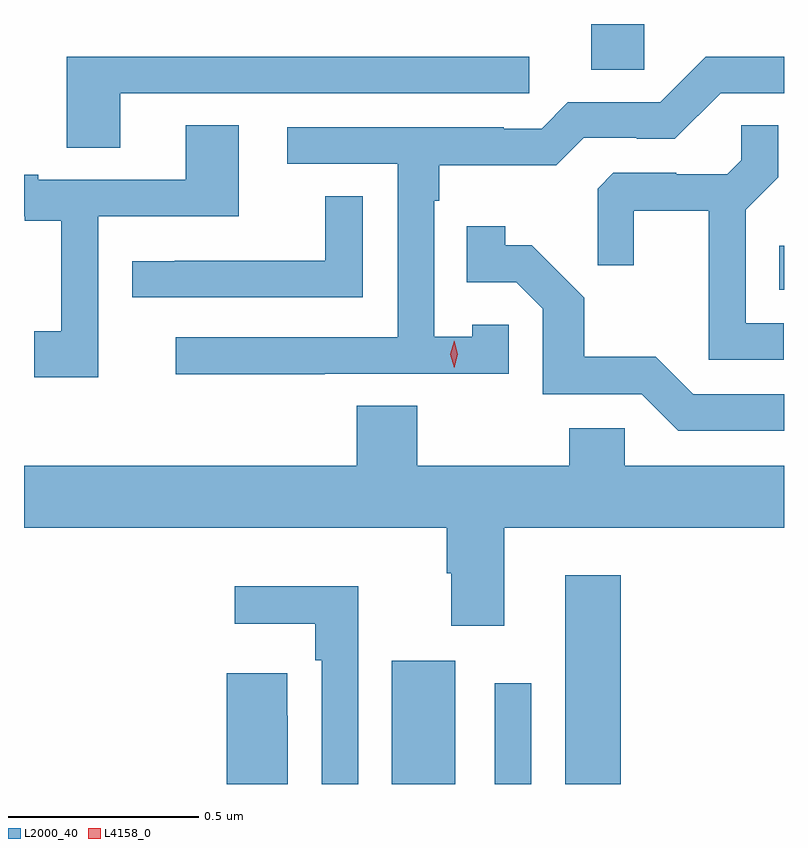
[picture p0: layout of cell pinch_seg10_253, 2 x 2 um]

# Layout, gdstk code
import gdstk
lib = gdstk.Library(unit=1e-6, precision=1e-09)
def R(c, l, rs):  # rectangles x0, y0, x1, y1
    for r in rs: c.add(gdstk.rectangle(r[:2], r[2:], *l))
def P(c, l, *ps):  # polygons
    for p in ps: c.add(gdstk.Polygon(p, *l))
L2000_40 = (2000, 40)
L4158_0 = (4158, 0)

pinch_seg10_253 = lib.new_cell('pinch_seg10_253')
R(pinch_seg10_253, L2000_40, [(612.446,1298.31,612.613,1298.635), (612.717,1298.31,612.813,1298.575), (612.902,1298.31,613.049,1298.86), (613.466,1299.611,613.478,1299.727), (612.971,1300.189,613.11,1300.31)])
P(pinch_seg10_253, L2000_40, [(611.731,1300.128),(612.808,1300.128),(612.808,1300.224),(611.591,1300.224),(611.591,1299.985),(611.731,1299.985)],
  [(612.269,1299.39),(612.753,1299.39),(612.753,1299.519),(612.657,1299.519),(612.657,1299.487),(612.558,1299.487),(612.558,1299.845),(612.571,1299.845),(612.571,1299.938),(612.878,1299.938),(612.951,1300.011),(613.09,1300.011),(613.09,1300.008),(613.191,1300.008),(613.311,1300.128),(613.478,1300.128),(613.478,1300.224),(613.272,1300.224),(613.152,1300.104),(612.909,1300.104),(612.84,1300.035),(612.74,1300.035),(612.74,1300.038),(612.171,1300.038),(612.171,1299.942),(612.462,1299.942),(612.462,1299.486),(611.877,1299.486),(611.877,1299.388),(612.269,1299.388)],
  [(611.673,1299.804),(612.043,1299.804),(612.043,1300.043),(611.903,1300.043),(611.903,1299.9),(611.515,1299.9),(611.515,1299.913),(611.478,1299.913),(611.478,1299.804),(611.48,1299.804),(611.48,1299.792),(611.576,1299.792),(611.576,1299.501),(611.505,1299.501),(611.505,1299.381),(611.673,1299.381)],
  [(613.477,1299.522),(613.377,1299.522),(613.377,1299.821),(613.463,1299.907),(613.463,1300.043),(613.365,1300.043),(613.365,1299.952),(613.328,1299.915),(613.194,1299.915),(613.194,1299.918),(613.029,1299.918),(612.988,1299.877),(612.988,1299.675),(613.082,1299.675),(613.082,1299.818),(613.28,1299.818),(613.28,1299.426),(613.477,1299.426)],
  [(612.369,1299.857),(612.271,1299.857),(612.271,1299.687),(611.875,1299.687),(611.875,1299.686),(611.763,1299.686),(611.763,1299.591),(612.369,1299.591)],
  [(613.478,1299.336),(613.239,1299.336),(613.141,1299.435),(612.952,1299.435),(612.952,1299.59),(612.814,1299.728),(612.744,1299.728),(612.744,1299.778),(612.643,1299.778),(612.643,1299.63),(612.774,1299.63),(612.843,1299.561),(612.843,1299.336),(613.104,1299.336),(613.2,1299.24),(613.478,1299.24)],
  [(612.742,1298.984),(613.478,1298.984),(613.478,1299.148),(613.059,1299.148),(613.059,1299.246),(612.913,1299.246),(612.913,1299.148),(612.513,1299.148),(612.513,1299.305),(612.353,1299.305),(612.353,1299.148),(611.478,1299.148),(611.478,1298.984),(612.59,1298.984),(612.59,1298.864),(612.602,1298.864),(612.602,1298.727),(612.742,1298.727)],
  [(612.357,1298.83),(612.033,1298.83),(612.033,1298.732),(612.245,1298.732),(612.245,1298.636),(612.261,1298.636),(612.261,1298.31),(612.357,1298.31)],
  [(612.172,1298.489),(612.171,1298.489),(612.171,1298.602),(612.011,1298.602),(612.011,1298.31),(612.172,1298.31)])
P(pinch_seg10_253, L4158_0, [(612.61,1299.405),(612.61,1299.406),(612.6,1299.441),(612.61,1299.477),(612.61,1299.477),(612.61,1299.477),(612.62,1299.441),(612.61,1299.406)])

lib.write_gds('pinch_seg10_253.gds')
